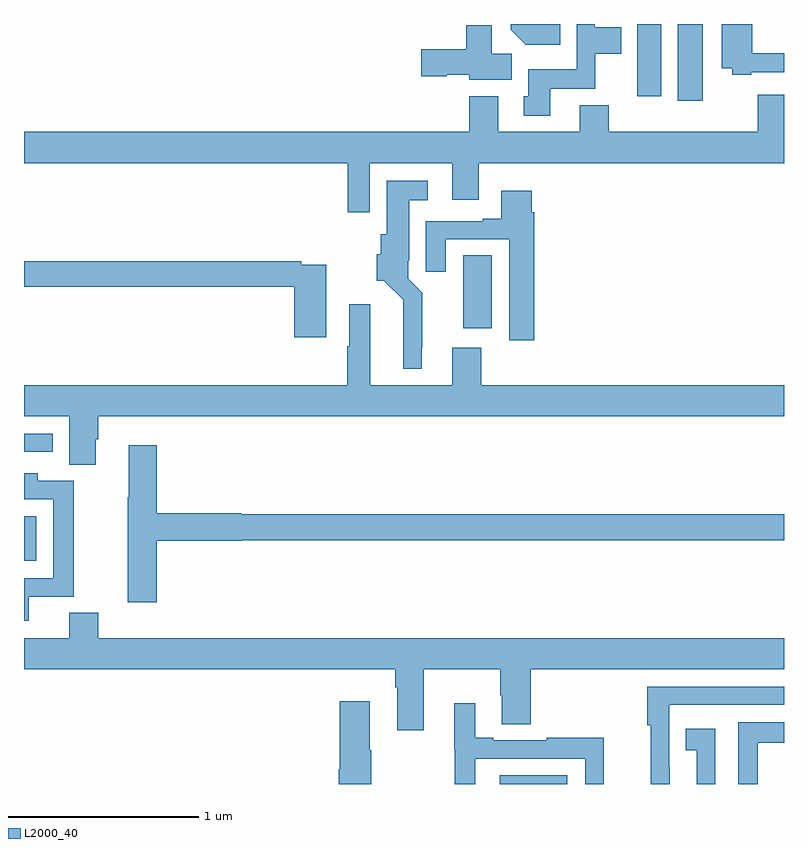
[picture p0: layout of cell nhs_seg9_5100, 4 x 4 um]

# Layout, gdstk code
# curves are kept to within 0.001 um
import gdstk
lib = gdstk.Library(unit=1e-6, precision=1e-09)
def R(c, l, rs):  # rectangles x0, y0, x1, y1
    for r in rs: c.add(gdstk.rectangle(r[:2], r[2:], *l))
def P(c, l, *ps):  # polygons
    for p in ps: c.add(gdstk.Polygon(p, *l))
L2000_40 = (2000, 40)

nhs_seg9_5100 = lib.new_cell('nhs_seg9_5100')
R(nhs_seg9_5100, L2000_40, [(409.505,1178.5,409.858,1178.545), (407,1179.674,407.065,1179.91), (407,1180.248,407.152,1180.344), (409.313,1180.898,409.462,1181.282), (410.441,1182.096,410.572,1182.5), (410.228,1182.12,410.353,1182.5)])
P(nhs_seg9_5100, L2000_40, [(409.823,1182.5),(409.562,1182.5),(409.562,1182.47),(409.64,1182.392),(409.823,1182.392)],
  [(409.771,1182.158),(410.007,1182.158),(410.007,1182.344),(410.143,1182.344),(410.143,1182.484),(410.004,1182.484),(410.004,1182.5),(409.908,1182.5),(409.908,1182.262),(409.655,1182.262),(409.655,1182.12),(409.631,1182.12),(409.631,1182.018),(409.771,1182.018)],
  [(410.827,1182.246),(411,1182.246),(411,1182.347),(410.834,1182.347),(410.834,1182.5),(410.672,1182.5),(410.672,1182.266),(410.727,1182.266),(410.727,1182.234),(410.827,1182.234)],
  [(409.567,1182.344),(409.462,1182.344),(409.462,1182.493),(409.328,1182.493),(409.328,1182.368),(409.092,1182.368),(409.092,1182.226),(409.224,1182.226),(409.224,1182.233),(409.344,1182.233),(409.344,1182.206),(409.567,1182.206)],
  [(408.819,1181.768),(409.253,1181.768),(409.253,1181.574),(409.393,1181.574),(409.393,1181.768),(411,1181.768),(411,1182.127),(410.861,1182.127),(410.861,1181.932),(410.078,1181.932),(410.078,1182.073),(409.925,1182.073),(409.925,1181.932),(409.495,1181.932),(409.495,1182.121),(409.343,1182.121),(409.343,1181.932),(407,1181.932),(407,1181.768),(408.703,1181.768),(408.703,1181.508),(408.819,1181.508)],
  [(409.093,1180.795),(409.097,1180.795),(409.097,1181.086),(409.023,1181.16),(409.023,1181.254),(409.027,1181.254),(409.027,1181.573),(409.126,1181.573),(409.126,1181.674),(408.908,1181.674),(408.908,1181.394),(408.878,1181.394),(408.878,1181.289),(408.857,1181.289),(408.857,1181.15),(408.894,1181.15),(408.996,1181.048),(408.995,1180.685),(409.093,1180.685)],
  [(409.685,1181.51),(409.672,1181.51),(409.672,1181.623),(409.511,1181.623),(409.511,1181.476),(409.415,1181.476),(409.415,1181.463),(409.115,1181.463),(409.115,1181.196),(409.219,1181.196),(409.219,1181.367),(409.553,1181.367),(409.553,1180.836),(409.685,1180.836)],
  [(408.592,1181.232),(408.458,1181.232),(408.458,1181.252),(407,1181.252),(407,1181.116),(408.422,1181.116),(408.422,1180.851),(408.592,1180.851)],
  [(407.377,1180.314),(407.39,1180.314),(407.39,1180.436),(411,1180.436),(411,1180.6),(409.406,1180.6),(409.406,1180.795),(409.253,1180.795),(409.253,1180.6),(408.823,1180.6),(408.823,1181.026),(408.713,1181.026),(408.713,1180.805),(408.701,1180.805),(408.701,1180.6),(407,1180.6),(407,1180.436),(407.237,1180.436),(407.237,1180.18),(407.377,1180.18)],
  [(407.699,1179.779),(408.144,1179.779),(408.144,1179.784),(411,1179.784),(411,1179.92),(408.144,1179.92),(408.144,1179.926),(407.699,1179.926),(407.699,1180.282),(407.552,1180.282),(407.552,1180.009),(407.545,1180.009),(407.545,1179.456),(407.699,1179.456)],
  [(407.024,1179.486),(407.263,1179.486),(407.263,1180.095),(407.073,1180.095),(407.073,1180.135),(407,1180.135),(407,1179.999),(407.154,1179.999),(407.154,1179.582),(407,1179.582),(407,1179.36),(407.024,1179.36)],
  [(407.39,1179.401),(407.237,1179.401),(407.237,1179.268),(407,1179.268),(407,1179.104),(408.953,1179.104),(408.953,1179.008),(408.965,1179.008),(408.965,1178.784),(409.105,1178.784),(409.105,1179.104),(409.507,1179.104),(409.507,1178.966),(409.514,1178.966),(409.514,1178.815),(409.667,1178.815),(409.667,1179.104),(411,1179.104),(411,1179.268),(407.39,1179.268)],
  [(410.398,1178.588),(410.397,1178.588),(410.397,1178.916),(411,1178.916),(411,1179.012),(410.281,1179.012),(410.281,1178.809),(410.299,1178.809),(410.299,1178.5),(410.398,1178.5)],
  [(408.828,1178.677),(408.82,1178.677),(408.82,1178.935),(408.662,1178.935),(408.662,1178.577),(408.656,1178.577),(408.656,1178.5),(408.828,1178.5)],
  [(409.375,1178.634),(409.953,1178.634),(409.953,1178.5),(410.052,1178.5),(410.052,1178.743),(409.75,1178.743),(409.75,1178.73),(409.471,1178.73),(409.471,1178.743),(409.375,1178.743),(409.375,1178.926),(409.265,1178.926),(409.265,1178.681),(409.266,1178.681),(409.266,1178.5),(409.375,1178.5)],
  [(410.861,1178.718),(411,1178.718),(411,1178.826),(410.76,1178.826),(410.76,1178.5),(410.861,1178.5)],
  [(410.637,1178.791),(410.482,1178.791),(410.482,1178.678),(410.54,1178.678),(410.54,1178.5),(410.637,1178.5)])

lib.write_gds('nhs_seg9_5100.gds')
